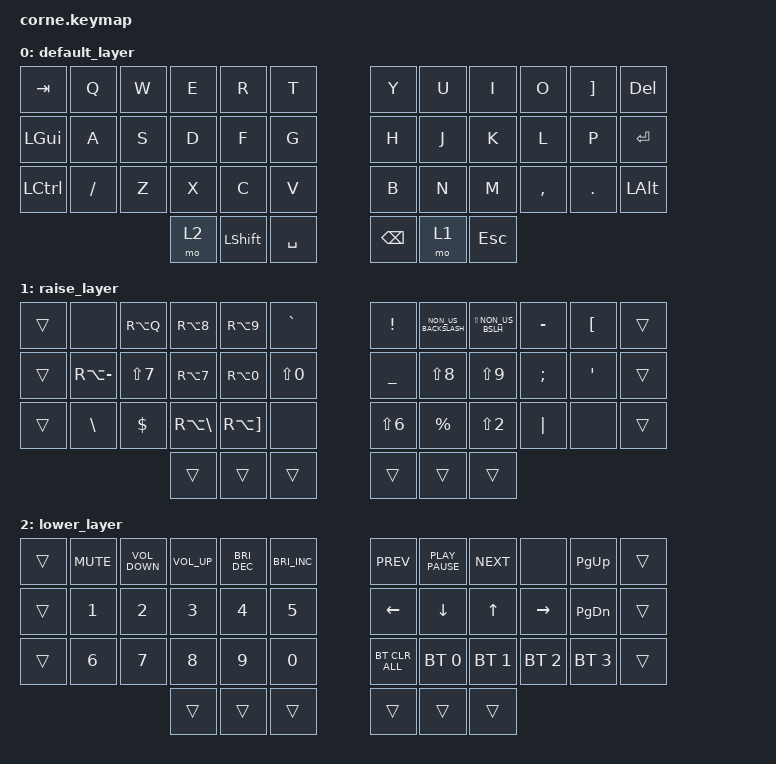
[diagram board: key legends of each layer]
/*
 * Copyright (c) 2020 The ZMK Contributors
 *
 * SPDX-License-Identifier: MIT
 */

#include <behaviors.dtsi>
#include <dt-bindings/zmk/bt.h>
#include <dt-bindings/zmk/keys.h>

/ {
    keymap {
        compatible = "zmk,keymap";

        default_layer {
            // -----------------------------------------------------------------------------------------
            // |  TAB |  Q  |  W  |  E  |  R  |  T  |   |  Y  |  U   |  I  |  O  |  P  | BKSP |
            // | CTRL |  A  |  S  |  D  |  F  |  G  |   |  H  |  J   |  K  |  L  |  ;  |  '   |
            // | SHFT |  Z  |  X  |  C  |  V  |  B  |   |  N  |  M   |  ,  |  .  |  /  | ESC  |
            //                    | GUI | LWR | SPC |   | ENT | RSE  | ALT |

            bindings = <
&kp TAB       &kp Q     &kp W  &kp E  &kp R           &kp T        &kp Y          &kp U  &kp I       &kp O      &kp RIGHT_BRACKET  &kp DEL
&kp LEFT_GUI  &kp A     &kp S  &kp D  &kp F           &kp G        &kp H          &kp J  &kp K       &kp L      &kp P              &kp RET
&kp LCTRL     &kp FSLH  &kp Z  &kp X  &kp C           &kp V        &kp B          &kp N  &kp M       &kp COMMA  &kp DOT            &kp LEFT_ALT
                               &mo 2  &kp LEFT_SHIFT  &kp SPACE    &kp BACKSPACE  &mo 1  &kp ESCAPE
            >;
        };

        raise_layer {
            // -----------------------------------------------------------------------------------------
            // |  TAB |  !  |  @  |  #  |  $  |  %  |   |  ^  |  &  |  *  |  (  |  )  | BKSP |
            // | CTRL |     |     |     |     |     |   |  -  |  =  |  [  |  ]  |  \  |  `   |
            // | SHFT |     |     |     |     |     |   |  _  |  +  |  {  |  }  | "|" |  ~   |
            //                    | GUI |     | SPC |   | ENT |     | ALT |

            bindings = <
&trans  &none          &kp RA(Q)   &kp RA(N8)         &kp RA(N9)             &kp GRAVE     &kp EXCLAMATION   &kp NON_US_BACKSLASH  &kp LS(NON_US_BSLH)  &kp MINUS      &kp LEFT_BRACKET  &trans
&trans  &kp RA(MINUS)  &kp LS(N7)  &kp RA(N7)         &kp RA(N0)             &kp LS(N0)    &kp UNDER         &kp LS(NUMBER_8)      &kp LS(NUMBER_9)     &kp SEMICOLON  &kp SQT           &trans
&trans  &kp BACKSLASH  &kp DOLLAR  &kp RA(BACKSLASH)  &kp RA(RIGHT_BRACKET)  &none         &kp LS(NUMBER_6)  &kp PERCENT           &kp LS(NUMBER_2)     &kp PIPE       &none             &trans
                                   &trans             &trans                 &trans        &trans            &trans                &trans
            >;
        };

        lower_layer {
            // -----------------------------------------------------------------------------------------
            // |  TAB |  1  |  2  |  3  |  4  |  5  |   |  6  |  7  |  8  |  9  |  0  | BKSP |
            // | BTCLR| BT1 | BT2 | BT3 | BT4 | BT5 |   | LFT | DWN |  UP | RGT |     |      |
            // | SHFT |     |     |     |     |     |   |     |     |     |     |     |      |
            //                    | GUI |     | SPC |   | ENT |     | ALT |

            bindings = <
&trans  &kp K_MUTE  &kp C_VOLUME_DOWN  &kp C_VOLUME_UP  &kp C_BRI_DEC  &kp C_BRIGHTNESS_INC    &kp C_PREV      &kp K_PLAY_PAUSE  &kp C_NEXT    &none         &kp PAGE_UP    &trans
&trans  &kp N1      &kp N2             &kp N3           &kp N4         &kp N5                  &kp LEFT        &kp DOWN          &kp UP        &kp RIGHT     &kp PAGE_DOWN  &trans
&trans  &kp N6      &kp N7             &kp N8           &kp N9         &kp N0                  &bt BT_CLR_ALL  &bt BT_SEL 0      &bt BT_SEL 1  &bt BT_SEL 2  &bt BT_SEL 3   &trans
                                       &trans           &trans         &trans                  &trans          &trans            &trans
            >;
        };
    };
};
